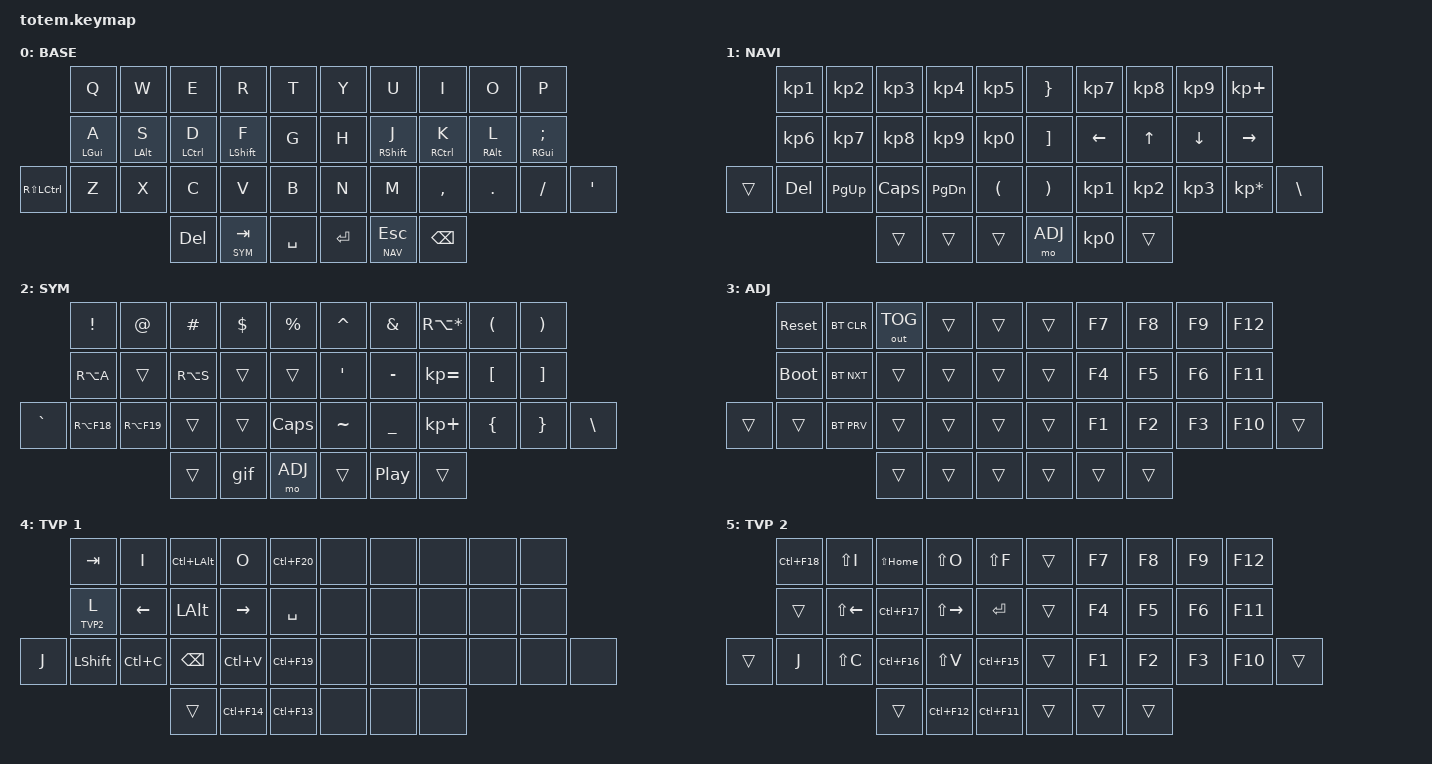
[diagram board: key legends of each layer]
//
//                                                        ▀▀▀▀▀     ▀▀▀▀▀          ▀▀█▀▀
//                                                        ▄▀▀▀▄  ▄  ▄▀▀▀▄  ▄  ▄▀▀▀▄  █  ▄▀▀▀▄
//                                                        █   █  █  █   █  █  █   █  █  █   █
//                                                         ▀▀▀   █   ▀▀▀   █   ▀▀▀   ▀   ▀▀▀
//                                                               █      ▄▄▄█▄▄▄    █   █  
//                                                               ▀      █  █  █     █▄█
//                                                             ▀▀▀▀▀    █  █  █      ▀
//                                                                      ▀  ▀  ▀
//
// ▄▄▄▄▄▄▄▄▄▄▄▄▄▄▄▄▄▄▄▄▄▄▄▄▄▄▄▄▄▄▄▄▄▄▄▄▄▄▄▄▄▄▄▄▄▄▄▄▄▄▄▄▄▄▄▄▄▄▄▄▄▄▄▄▄▄▄▄▄▄▄▄▄▄▄▄▄▄▄▄▄▄▄▄▄▄▄▄▄▄▄▄▄▄▄▄▄▄▄▄▄▄▄▄▄▄▄▄▄▄▄▄▄▄▄▄▄▄▄▄▄▄▄▄▄▄▄▄▄▄▄▄▄▄▄▄▄▄▄▄▄▄▄▄▄▄▄▄▄

#include <behaviors.dtsi>
#include <dt-bindings/zmk/bt.h>
#include <dt-bindings/zmk/keys.h>
#include <dt-bindings/zmk/outputs.h>

#define BASE 0
#define NAV  1
#define SYM  2
#define ADJ  3
#define TVP1 4
#define TVP2 5

&mt {
    quick-tap-ms = <100>;
    global-quick-tap;
    flavor = "tap-preferred";
    tapping-term-ms = <170>;
};

/ {
    combos {
        compatible = "zmk,combos";

        combo_esc {
            timeout-ms = <50>;
            key-positions = <0 1>;
            bindings = <&kp ESC>;
        };

        combo_tvp {
            timeout-ms = <100>;
            key-positions = <11 12 13>;
            bindings = <&tog TVP1>;
        };

        screenshot {
            bindings = <&none>;
            key-positions = <35>;
        };
    };

    macros {
        gif: gif {
            label = "giphy";
            compatible = "zmk,behavior-macro";
            #binding-cells = <0>;
            bindings =
                <&macro_press>,
                <&kp LSHFT>,
                <&macro_tap>,
                <&kp N2>,
                <&macro_release>,
                <&kp LSHFT>,
                <&macro_tap>,
                <&kp G &kp I &kp F>;
        };
        screenshot: screenshot {
            compatible = "zmk,behavior-macro";
            #binding-cells = <0>;
            bindings = <&kp LEFT_SHIFT &kp LGUI &kp NUMBER_4>;
            label = "SCREENSHOT";
        };
    };

    keymap {
        compatible = "zmk,keymap";

        // ▄▄▄▄▄▄▄▄▄▄▄▄▄▄▄▄▄▄▄▄▄▄▄▄▄▄▄▄▄▄▄▄▄▄▄▄▄▄▄▄▄▄▄▄▄▄▄▄▄▄▄▄▄▄▄▄▄▄▄▄▄▄▄▄▄▄▄▄▄▄▄▄▄▄▄▄▄▄▄▄▄▄▄▄▄▄▄▄▄▄▄▄▄▄▄▄▄▄▄▄▄▄▄▄▄▄▄▄▄▄▄▄▄▄▄▄▄▄▄▄▄▄▄▄▄▄▄▄▄▄▄▄▄▄▄▄▄▄▄▄▄▄▄▄▄▄▄▄▄

        base_layer {
            // ┏━━━━━━━━━━━━━━━━━━━━━━━━━━━━━━━━━━━━━━━┓

            label = "BASE";

            // ┗━━━━━━━━━━━━━━━━━━━━━━━━━━━━━━━━━━━━━━━┛
            //             ┏━━━━━━━━━━━┳━━━━━━━━━━━┳━━━━━━━━━━━┳━━━━━━━━━━━┳━━━━━━━━━━━┓   ┏━━━━━━━━━━━┳━━━━━━━━━━━┳━━━━━━━━━━━┳━━━━━━━━━━━┳━━━━━━━━━━━┓
            //             ┃     Q     ┃     W     ┃     E     ┃     R     ┃     T     ┃   ┃     Y     ┃     U     ┃     I     ┃     O     ┃     P     ┃
            //             ┣━━━━━━━━━━━╋━━━━━━━━━━━╋━━━━━━━━━━━╋━━━━━━━━━━━╋━━━━━━━━━━━┫   ┣━━━━━━━━━━━╋━━━━━━━━━━━╋━━━━━━━━━━━╋━━━━━━━━━━━╋━━━━━━━━━━━┫
            //             ┃     A     ┃     S     ┃     D     ┃     F     ┃     G     ┃   ┃     H     ┃     J     ┃     K     ┃     L     ┃     ;     ┃
            // ┏━━━━━━━━━━━╋━━━━━━━━━━━╋━━━━━━━━━━━╋━━━━━━━━━━━╋━━━━━━━━━━━╋━━━━━━━━━━━┫   ┣━━━━━━━━━━━╋━━━━━━━━━━━╋━━━━━━━━━━━╋━━━━━━━━━━━╋━━━━━━━━━━━╋━━━━━━━━━━━┓
            // ┃     Q     ┃     Z     ┃     X     ┃     C     ┃     V     ┃     B     ┃   ┃     N     ┃     M     ┃     ,     ┃     .     ┃     /     ┃     \     ┃
            // ┗━━━━━━━━━━━┻━━━━━━━━━━━┻━━━━━━━━━━━╋━━━━━━━━━━━╋━━━━━━━━━━━╋━━━━━━━━━━━┫   ┣━━━━━━━━━━━╋━━━━━━━━━━━╋━━━━━━━━━━━╋━━━━━━━━━━━┻━━━━━━━━━━━┻━━━━━━━━━━━┛
            //                                     ┃    DEL    ┃    TAB    ┃    SPC    ┃   ┃   ENTER   ┃           ┃   BSPC    ┃
            //                                     ┗━━━━━━━━━━━┻━━━━━━━━━━━┻━━━━━━━━━━━┛   ┗━━━━━━━━━━━┻━━━━━━━━━━━┻━━━━━━━━━━━┛

            bindings = <
           &kp Q       &kp W       &kp E        &kp R        &kp T        &kp Y      &kp U        &kp I        &kp O       &kp P
           &mt LGUI A  &mt LALT S  &mt LCTRL D  &mt LSHFT F  &kp G        &kp H      &mt RSHFT J  &mt RCTRL K  &mt RALT L  &mt RGUI SEMICOLON
&kp RS(LCTRL)  &kp Z       &kp X       &kp C        &kp V        &kp B        &kp N      &kp M        &kp COMMA    &kp DOT     &kp FSLH            &kp SINGLE_QUOTE
                                   &kp DEL      &lt SYM TAB    &kp SPACE    &kp RET  &lt NAV ESC    &kp BSPC
            >;
        };

        // ▄▄▄▄▄▄▄▄▄▄▄▄▄▄▄▄▄▄▄▄▄▄▄▄▄▄▄▄▄▄▄▄▄▄▄▄▄▄▄▄▄▄▄▄▄▄▄▄▄▄▄▄▄▄▄▄▄▄▄▄▄▄▄▄▄▄▄▄▄▄▄▄▄▄▄▄▄▄▄▄▄▄▄▄▄▄▄▄▄▄▄▄▄▄▄▄▄▄▄▄▄▄▄▄▄▄▄▄▄▄▄▄▄▄▄▄▄▄▄▄▄▄▄▄▄▄▄▄▄▄▄▄▄▄▄▄▄▄▄▄▄▄▄▄▄▄▄▄▄
        //               nav_layer {
        // ┏━━━━━━━━━━━━━━━━━━━━━━━━━━━━━━━━━━━━━━━┓
        //label= "NAVI"                              ;
        // ┗━━━━━━━━━━━━━━━━━━━━━━━━━━━━━━━━━━━━━━━┛
        //             ┏━━━━━━━━━━━┳━━━━━━━━━━━┳━━━━━━━━━━━┳━━━━━━━━━━━┳━━━━━━━━━━━┓   ┏━━━━━━━━━━━┳━━━━━━━━━━━┳━━━━━━━━━━━┳━━━━━━━━━━━┳━━━━━━━━━━━┓
        //             ┃           ┃           ┃     UP    ┃           ┃     {     ┃   ┃     }     ┃     7     ┃     8     ┃     9     ┃     +     ┃
        //             ┣━━━━━━━━━━━╋━━━━━━━━━━━╋━━━━━━━━━━━╋━━━━━━━━━━━╋━━━━━━━━━━━┫   ┣━━━━━━━━━━━╋━━━━━━━━━━━╋━━━━━━━━━━━╋━━━━━━━━━━━╋━━━━━━━━━━━┫
        //             ┃   SHIFT   ┃   LEFT    ┃    DOWN   ┃   RIGHT   ┃     [     ┃   ┃     ]     ┃     4     ┃     5     ┃     6     ┃     -     ┃
        // ┏━━━━━━━━━━━╋━━━━━━━━━━━╋━━━━━━━━━━━╋━━━━━━━━━━━╋━━━━━━━━━━━╋━━━━━━━━━━━┫   ┣━━━━━━━━━━━╋━━━━━━━━━━━╋━━━━━━━━━━━╋━━━━━━━━━━━╋━━━━━━━━━━━╋━━━━━━━━━━━┓
        // ┃           ┃           ┃   P UP    ┃  C LOCK   ┃  P DOWN   ┃     (     ┃   ┃     )     ┃     1     ┃     2     ┃     3     ┃     *     ┃           ┃
        // ┗━━━━━━━━━━━┻━━━━━━━━━━━┻━━━━━━━━━━━╋━━━━━━━━━━━╋━━━━━━━━━━━╋━━━━━━━━━━━┫   ┣━━━━━━━━━━━╋━━━━━━━━━━━╋━━━━━━━━━━━╋━━━━━━━━━━━┻━━━━━━━━━━━┻━━━━━━━━━━━┛
        //                                     ┃           ┃    TAB    ┃    SPC    ┃   ┃    DEL    ┃     0     ┃           ┃
        //                                     ┗━━━━━━━━━━━┻━━━━━━━━━━━┻━━━━━━━━━━━┛   ┗━━━━━━━━━━━┻━━━━━━━━━━━┻━━━━━━━━━━━┛
        // bindings = <
        // ╷           ╷           ╷           ╷           ╷           ╷           ╷   ╷           ╷           ╷           ╷           ╷           ╷           ╷
        //
        //                &kp ESC     &bt BT_CLR  &kp UP      &kp EQUAL   &kp LBRC        &kp RBRC    &kp KP_N7   &kp KP_N8   &kp KP_N9   &kp KP_PLUS
        //                &kp LSHFT   &kp LEFT    &kp DOWN    &kp RIGHT   &kp LBKT        &kp RBKT    &kp KP_N4   &kp KP_N5   &kp KP_N6   &kp KP_MINUS
        //    &trans      &kp DEL     &kp PG_UP   &kp CAPS    &kp PG_DN   &kp LPAR        &kp RPAR    &kp KP_N1   &kp KP_N2   &kp KP_N3   &kp KP_MULTIPLY &trans      
        //                                        &trans      &trans      &trans          &mo ADJ     &kp KP_N0   &trans      
        //                        >;
        //                };

        nav_layer {
            // ┏━━━━━━━━━━━━━━━━━━━━━━━━━━━━━━━━━━━━━━━┓

            label = "NAVI";

            // ┗━━━━━━━━━━━━━━━━━━━━━━━━━━━━━━━━━━━━━━━┛
            //             ┏━━━━━━━━━━━┳━━━━━━━━━━━┳━━━━━━━━━━━┳━━━━━━━━━━━┳━━━━━━━━━━━┓   ┏━━━━━━━━━━━┳━━━━━━━━━━━┳━━━━━━━━━━━┳━━━━━━━━━━━┳━━━━━━━━━━━┓
            //             ┃           ┃           ┃     UP    ┃           ┃     {     ┃   ┃     }     ┃     7     ┃     8     ┃     9     ┃     +     ┃
            //             ┣━━━━━━━━━━━╋━━━━━━━━━━━╋━━━━━━━━━━━╋━━━━━━━━━━━╋━━━━━━━━━━━┫   ┣━━━━━━━━━━━╋━━━━━━━━━━━╋━━━━━━━━━━━╋━━━━━━━━━━━╋━━━━━━━━━━━┫
            //             ┃   SHIFT   ┃   LEFT    ┃    DOWN   ┃   RIGHT   ┃     [     ┃   ┃     ]     ┃     4     ┃     5     ┃     6     ┃     -     ┃
            // ┏━━━━━━━━━━━╋━━━━━━━━━━━╋━━━━━━━━━━━╋━━━━━━━━━━━╋━━━━━━━━━━━╋━━━━━━━━━━━┫   ┣━━━━━━━━━━━╋━━━━━━━━━━━╋━━━━━━━━━━━╋━━━━━━━━━━━╋━━━━━━━━━━━╋━━━━━━━━━━━┓
            // ┃           ┃           ┃   P UP    ┃  C LOCK   ┃  P DOWN   ┃     (     ┃   ┃     )     ┃     1     ┃     2     ┃     3     ┃     *     ┃           ┃
            // ┗━━━━━━━━━━━┻━━━━━━━━━━━┻━━━━━━━━━━━╋━━━━━━━━━━━╋━━━━━━━━━━━╋━━━━━━━━━━━┫   ┣━━━━━━━━━━━╋━━━━━━━━━━━╋━━━━━━━━━━━╋━━━━━━━━━━━┻━━━━━━━━━━━┻━━━━━━━━━━━┛
            //                                     ┃           ┃    TAB    ┃    SPC    ┃   ┃    DEL    ┃     0     ┃           ┃
            //                                     ┗━━━━━━━━━━━┻━━━━━━━━━━━┻━━━━━━━━━━━┛   ┗━━━━━━━━━━━┻━━━━━━━━━━━┻━━━━━━━━━━━┛

            bindings = <
        &kp KP_N1  &kp KP_N2  &kp KP_N3  &kp KP_N4  &kp KP_N5    &kp RBRC  &kp KP_N7  &kp KP_N8  &kp KP_N9  &kp KP_PLUS
        &kp KP_N6  &kp KP_N7  &kp KP_N8  &kp KP_N9  &kp KP_N0    &kp RBKT  &kp LEFT   &kp UP     &kp DOWN   &kp RIGHT
&trans  &kp DEL    &kp PG_UP  &kp CAPS   &kp PG_DN  &kp LPAR     &kp RPAR  &kp KP_N1  &kp KP_N2  &kp KP_N3  &kp KP_MULTIPLY  &kp BACKSLASH
                              &trans     &trans     &trans       &mo ADJ   &kp KP_N0  &trans
            >;
        };

        // ▄▄▄▄▄▄▄▄▄▄▄▄▄▄▄▄▄▄▄▄▄▄▄▄▄▄▄▄▄▄▄▄▄▄▄▄▄▄▄▄▄▄▄▄▄▄▄▄▄▄▄▄▄▄▄▄▄▄▄▄▄▄▄▄▄▄▄▄▄▄▄▄▄▄▄▄▄▄▄▄▄▄▄▄▄▄▄▄▄▄▄▄▄▄▄▄▄▄▄▄▄▄▄▄▄▄▄▄▄▄▄▄▄▄▄▄▄▄▄▄▄▄▄▄▄▄▄▄▄▄▄▄▄▄▄▄▄▄▄▄▄▄▄▄▄▄▄▄▄
        //                sim_layer {
        // ┏━━━━━━━━━━━━━━━━━━━━━━━━━━━━━━━━━━━━━━━┓
        //label= "SYM"                               ;
        // ┗━━━━━━━━━━━━━━━━━━━━━━━━━━━━━━━━━━━━━━━┛
        //             ┏━━━━━━━━━━━┳━━━━━━━━━━━┳━━━━━━━━━━━┳━━━━━━━━━━━┳━━━━━━━━━━━┓   ┏━━━━━━━━━━━┳━━━━━━━━━━━┳━━━━━━━━━━━┳━━━━━━━━━━━┳━━━━━━━━━━━┓
        //             ┃     !     ┃     @     ┃     #     ┃     $     ┃     %     ┃   ┃     ˆ     ┃     &     ┃     Ü     ┃     '     ┃     "     ┃
        //             ┣━━━━━━━━━━━╋━━━━━━━━━━━╋━━━━━━━━━━━╋━━━━━━━━━━━╋━━━━━━━━━━━┫   ┣━━━━━━━━━━━╋━━━━━━━━━━━╋━━━━━━━━━━━╋━━━━━━━━━━━╋━━━━━━━━━━━┫
        //             ┃     Ä     ┃           ┃    SZ     ┃           ┃           ┃   ┃   MUTE    ┃   YEN     ┃   EURO    ┃  POUND    ┃     Ö     ┃
        // ┏━━━━━━━━━━━╋━━━━━━━━━━━╋━━━━━━━━━━━╋━━━━━━━━━━━╋━━━━━━━━━━━╋━━━━━━━━━━━┫   ┣━━━━━━━━━━━╋━━━━━━━━━━━╋━━━━━━━━━━━╋━━━━━━━━━━━╋━━━━━━━━━━━╋━━━━━━━━━━━┓
        // ┃           ┃  EMAIL1   ┃  EMAIL2   ┃           ┃           ┃           ┃   ┃   VOL-    ┃   VOL+    ┃   LAST    ┃   NEXT    ┃     \     ┃           ┃
        // ┗━━━━━━━━━━━┻━━━━━━━━━━━┻━━━━━━━━━━━╋━━━━━━━━━━━╋━━━━━━━━━━━╋━━━━━━━━━━━┫   ┣━━━━━━━━━━━╋━━━━━━━━━━━╋━━━━━━━━━━━╋━━━━━━━━━━━┻━━━━━━━━━━━┻━━━━━━━━━━━┛
        //                                     ┃           ┃    GIF    ┃    ADJ    ┃   ┃           ┃           ┃           ┃
        //                                     ┗━━━━━━━━━━━┻━━━━━━━━━━━┻━━━━━━━━━━━┛   ┗━━━━━━━━━━━┻━━━━━━━━━━━┻━━━━━━━━━━━┛
        // bindings = <
        // ╷           ╷           ╷           ╷           ╷           ╷           ╷   ╷           ╷           ╷           ╷           ╷           ╷           ╷
        //
        //                &kp EXCL    &kp AT      &kp HASH    &kp DLLR    &kp PRCNT       &kp CARET   &kp AMPS    &kp RA(U)   &kp LPAR     &kp RPAR       
        //                &kp RA(A)   &trans      &kp RA(S)   &trans      &trans          &kp C_MUTE  &kp LS(RA(N4)) &kp RA(N5) &kp LBKT   &kp RBKT 
        //    &trans      &kp RA(F18) &kp RA(F19) &trans      &trans      &trans          &kp C_VOL_DN &kp C_VOL_UP &kp C_PREV &kp LBRC  &kp RBRC   &trans         
        //                                        &trans      &gif        &mo ADJ         &trans      &kp C_PP    &trans      
        //                        >;
        //                };

        sim_layer {
            // ┏━━━━━━━━━━━━━━━━━━━━━━━━━━━━━━━━━━━━━━━┓

            label = "SYM";

            // ┗━━━━━━━━━━━━━━━━━━━━━━━━━━━━━━━━━━━━━━━┛
            //             ┏━━━━━━━━━━━┳━━━━━━━━━━━┳━━━━━━━━━━━┳━━━━━━━━━━━┳━━━━━━━━━━━┓   ┏━━━━━━━━━━━┳━━━━━━━━━━━┳━━━━━━━━━━━┳━━━━━━━━━━━┳━━━━━━━━━━━┓
            //             ┃     !     ┃     @     ┃     #     ┃     $     ┃     %     ┃   ┃     ˆ     ┃     &     ┃     Ü     ┃     '     ┃     "     ┃
            //             ┣━━━━━━━━━━━╋━━━━━━━━━━━╋━━━━━━━━━━━╋━━━━━━━━━━━╋━━━━━━━━━━━┫   ┣━━━━━━━━━━━╋━━━━━━━━━━━╋━━━━━━━━━━━╋━━━━━━━━━━━╋━━━━━━━━━━━┫
            //             ┃     Ä     ┃           ┃    SZ     ┃           ┃           ┃   ┃   MUTE    ┃   YEN     ┃   EURO    ┃  POUND    ┃     Ö     ┃
            // ┏━━━━━━━━━━━╋━━━━━━━━━━━╋━━━━━━━━━━━╋━━━━━━━━━━━╋━━━━━━━━━━━╋━━━━━━━━━━━┫   ┣━━━━━━━━━━━╋━━━━━━━━━━━╋━━━━━━━━━━━╋━━━━━━━━━━━╋━━━━━━━━━━━╋━━━━━━━━━━━┓
            // ┃           ┃  EMAIL1   ┃  EMAIL2   ┃           ┃           ┃           ┃   ┃   VOL-    ┃   VOL+    ┃   LAST    ┃   NEXT    ┃     \     ┃           ┃
            // ┗━━━━━━━━━━━┻━━━━━━━━━━━┻━━━━━━━━━━━╋━━━━━━━━━━━╋━━━━━━━━━━━╋━━━━━━━━━━━┫   ┣━━━━━━━━━━━╋━━━━━━━━━━━╋━━━━━━━━━━━╋━━━━━━━━━━━┻━━━━━━━━━━━┻━━━━━━━━━━━┛
            //                                     ┃           ┃    GIF    ┃    ADJ    ┃   ┃           ┃           ┃           ┃
            //                                     ┗━━━━━━━━━━━┻━━━━━━━━━━━┻━━━━━━━━━━━┛   ┗━━━━━━━━━━━┻━━━━━━━━━━━┻━━━━━━━━━━━┛

            bindings = <
           &kp EXCL     &kp AT       &kp HASH   &kp DLLR  &kp PRCNT    &kp CARET         &kp AMPS        &kp RA(ASTERISK)  &kp LEFT_PARENTHESIS  &kp RIGHT_PARENTHESIS
           &kp RA(A)    &trans       &kp RA(S)  &trans    &trans       &kp SINGLE_QUOTE  &kp MINUS       &kp KP_EQUAL      &kp LEFT_BRACKET      &kp RIGHT_BRACKET
&kp GRAVE  &kp RA(F18)  &kp RA(F19)  &trans     &trans    &kp CAPS     &kp TILDE         &kp UNDERSCORE  &kp KP_PLUS       &kp LEFT_BRACE        &kp RIGHT_BRACE        &kp BACKSLASH
                                     &trans     &gif      &mo ADJ      &trans            &kp C_PP        &trans
            >;
        };

        // ▄▄▄▄▄▄▄▄▄▄▄▄▄▄▄▄▄▄▄▄▄▄▄▄▄▄▄▄▄▄▄▄▄▄▄▄▄▄▄▄▄▄▄▄▄▄▄▄▄▄▄▄▄▄▄▄▄▄▄▄▄▄▄▄▄▄▄▄▄▄▄▄▄▄▄▄▄▄▄▄▄▄▄▄▄▄▄▄▄▄▄▄▄▄▄▄▄▄▄▄▄▄▄▄▄▄▄▄▄▄▄▄▄▄▄▄▄▄▄▄▄▄▄▄▄▄▄▄▄▄▄▄▄▄▄▄▄▄▄▄▄▄▄▄▄▄▄▄▄

        adjust_layer {
            // ┏━━━━━━━━━━━━━━━━━━━━━━━━━━━━━━━━━━━━━━━┓

            label = "ADJ";

            // ┗━━━━━━━━━━━━━━━━━━━━━━━━━━━━━━━━━━━━━━━┛
            //             ┏━━━━━━━━━━━┳━━━━━━━━━━━┳━━━━━━━━━━━┳━━━━━━━━━━━┳━━━━━━━━━━━┓   ┏━━━━━━━━━━━┳━━━━━━━━━━━┳━━━━━━━━━━━┳━━━━━━━━━━━┳━━━━━━━━━━━┓
            //             ┃   RESET   ┃ BT CLEAR  ┃  OUT TOG  ┃           ┃           ┃   ┃           ┃    F7     ┃    F8     ┃    F9     ┃    F12    ┃
            //             ┣━━━━━━━━━━━╋━━━━━━━━━━━╋━━━━━━━━━━━╋━━━━━━━━━━━╋━━━━━━━━━━━┫   ┣━━━━━━━━━━━╋━━━━━━━━━━━╋━━━━━━━━━━━╋━━━━━━━━━━━╋━━━━━━━━━━━┫
            //             ┃ BOOTLOAD  ┃ BT NEXT   ┃           ┃           ┃           ┃   ┃           ┃    F4     ┃    F5     ┃    F6     ┃    F11    ┃
            // ┏━━━━━━━━━━━╋━━━━━━━━━━━╋━━━━━━━━━━━╋━━━━━━━━━━━╋━━━━━━━━━━━╋━━━━━━━━━━━┫   ┣━━━━━━━━━━━╋━━━━━━━━━━━╋━━━━━━━━━━━╋━━━━━━━━━━━╋━━━━━━━━━━━╋━━━━━━━━━━━┓
            // ┃           ┃           ┃ BT PREV   ┃           ┃           ┃           ┃   ┃           ┃    F1     ┃    F2     ┃    F3     ┃    F10    ┃           ┃
            // ┗━━━━━━━━━━━┻━━━━━━━━━━━┻━━━━━━━━━━━╋━━━━━━━━━━━╋━━━━━━━━━━━╋━━━━━━━━━━━┫   ┣━━━━━━━━━━━╋━━━━━━━━━━━╋━━━━━━━━━━━╋━━━━━━━━━━━┻━━━━━━━━━━━┻━━━━━━━━━━━┛
            //                                     ┃           ┃           ┃           ┃   ┃           ┃           ┃           ┃
            //                                     ┗━━━━━━━━━━━┻━━━━━━━━━━━┻━━━━━━━━━━━┛   ┗━━━━━━━━━━━┻━━━━━━━━━━━┻━━━━━━━━━━━┛

            bindings = <
        &sys_reset   &bt BT_CLR  &out OUT_TOG  &trans  &trans    &trans  &kp F7  &kp F8  &kp F9  &kp F12
        &bootloader  &bt BT_NXT  &trans        &trans  &trans    &trans  &kp F4  &kp F5  &kp F6  &kp F11
&trans  &trans       &bt BT_PRV  &trans        &trans  &trans    &trans  &kp F1  &kp F2  &kp F3  &kp F10  &trans
                                 &trans        &trans  &trans    &trans  &trans  &trans
            >;
        };

        // ▄▄▄▄▄▄▄▄▄▄▄▄▄▄▄▄▄▄▄▄▄▄▄▄▄▄▄▄▄▄▄▄▄▄▄▄▄▄▄▄▄▄▄▄▄▄▄▄▄▄▄▄▄▄▄▄▄▄▄▄▄▄▄▄▄▄▄▄▄▄▄▄▄▄▄▄▄▄▄▄▄▄▄▄▄▄▄▄▄▄▄▄▄▄▄▄▄▄▄▄▄▄▄▄▄▄▄▄▄▄▄▄▄▄▄▄▄▄▄▄▄▄▄▄▄▄▄▄▄▄▄▄▄▄▄▄▄▄▄▄▄▄▄▄▄▄▄▄▄

        tvp1_layer {
            // ┏━━━━━━━━━━━━━━━━━━━━━━━━━━━━━━━━━━━━━━━┓

            label = "TVP 1";

            // ┗━━━━━━━━━━━━━━━━━━━━━━━━━━━━━━━━━━━━━━━┛
            //             ┏━━━━━━━━━━━┳━━━━━━━━━━━┳━━━━━━━━━━━┳━━━━━━━━━━━┳━━━━━━━━━━━┓   ┏━━━━━━━━━━━┳━━━━━━━━━━━┳━━━━━━━━━━━┳━━━━━━━━━━━┳━━━━━━━━━━━┓
            //             ┃ NEXT FILE ┃ MARK IN   ┃ ROTATE    ┃ MARK OUT  ┃ SHOW SNAP ┃   ┃           ┃           ┃           ┃           ┃           ┃
            //             ┣━━━━━━━━━━━╋━━━━━━━━━━━╋━━━━━━━━━━━╋━━━━━━━━━━━╋━━━━━━━━━━━┫   ┣━━━━━━━━━━━╋━━━━━━━━━━━╋━━━━━━━━━━━╋━━━━━━━━━━━╋━━━━━━━━━━━┫
            //             ┃ TVP II    ┃ LEFT      ┃ PAN       ┃ RIGHT     ┃ PLAY/FLIP ┃   ┃           ┃           ┃           ┃           ┃           ┃
            // ┏━━━━━━━━━━━╋━━━━━━━━━━━╋━━━━━━━━━━━╋━━━━━━━━━━━╋━━━━━━━━━━━╋━━━━━━━━━━━┫   ┣━━━━━━━━━━━╋━━━━━━━━━━━╋━━━━━━━━━━━╋━━━━━━━━━━━╋━━━━━━━━━━━╋━━━━━━━━━━━┓
            // ┃ FULLSCR   ┃ SHIFT     ┃ COPY      ┃ DELETE    ┃ PASTE     ┃ IMG MARK  ┃   ┃           ┃           ┃           ┃           ┃           ┃           ┃
            // ┗━━━━━━━━━━━┻━━━━━━━━━━━┻━━━━━━━━━━━╋━━━━━━━━━━━╋━━━━━━━━━━━╋━━━━━━━━━━━┫   ┣━━━━━━━━━━━╋━━━━━━━━━━━╋━━━━━━━━━━━╋━━━━━━━━━━━┻━━━━━━━━━━━┻━━━━━━━━━━━┛
            //                                     ┃           ┃ UNDO/SAVE ┃  SEL/MOV  ┃   ┃           ┃           ┃           ┃
            //                                     ┗━━━━━━━━━━━┻━━━━━━━━━━━┻━━━━━━━━━━━┛   ┗━━━━━━━━━━━┻━━━━━━━━━━━┻━━━━━━━━━━━┛

            bindings = <
       &kp TAB     &kp I      &kp LC(LALT)  &kp O        &kp LC(F20)    &none  &none  &none  &none  &none
       &lt TVP2 L  &kp LEFT   &kp LALT      &kp RIGHT    &kp SPACE      &none  &none  &none  &none  &none
&kp J  &kp LSHFT   &kp LC(C)  &kp BSPC      &kp LC(V)    &kp LC(F19)    &none  &none  &none  &none  &none  &none
                              &trans        &kp LC(F14)  &kp LC(F13)    &none  &none  &none
            >;
        };

        // ▄▄▄▄▄▄▄▄▄▄▄▄▄▄▄▄▄▄▄▄▄▄▄▄▄▄▄▄▄▄▄▄▄▄▄▄▄▄▄▄▄▄▄▄▄▄▄▄▄▄▄▄▄▄▄▄▄▄▄▄▄▄▄▄▄▄▄▄▄▄▄▄▄▄▄▄▄▄▄▄▄▄▄▄▄▄▄▄▄▄▄▄▄▄▄▄▄▄▄▄▄▄▄▄▄▄▄▄▄▄▄▄▄▄▄▄▄▄▄▄▄▄▄▄▄▄▄▄▄▄▄▄▄▄▄▄▄▄▄▄▄▄▄▄▄▄▄▄▄

        tvp2_layer {
            // ┏━━━━━━━━━━━━━━━━━━━━━━━━━━━━━━━━━━━━━━━┓

            label = "TVP 2";

            // ┗━━━━━━━━━━━━━━━━━━━━━━━━━━━━━━━━━━━━━━━┛
            //             ┏━━━━━━━━━━━┳━━━━━━━━━━━┳━━━━━━━━━━━┳━━━━━━━━━━━┳━━━━━━━━━━━┓   ┏━━━━━━━━━━━┳━━━━━━━━━━━┳━━━━━━━━━━━┳━━━━━━━━━━━┳━━━━━━━━━━━┓
            //             ┃ SOLO      ┃ TOGGLE IN ┃ RESET ROT ┃ TOGGLE OUT┃ TAKE SNAP ┃   ┃           ┃           ┃           ┃           ┃           ┃
            //             ┣━━━━━━━━━━━╋━━━━━━━━━━━╋━━━━━━━━━━━╋━━━━━━━━━━━╋━━━━━━━━━━━┫   ┣━━━━━━━━━━━╋━━━━━━━━━━━╋━━━━━━━━━━━╋━━━━━━━━━━━╋━━━━━━━━━━━┫
            //             ┃ ---       ┃ LAST KEY  ┃ NEW KEY   ┃ NEXT KEY  ┃ ENTER     ┃   ┃           ┃           ┃           ┃           ┃           ┃
            // ┏━━━━━━━━━━━╋━━━━━━━━━━━╋━━━━━━━━━━━╋━━━━━━━━━━━╋━━━━━━━━━━━╋━━━━━━━━━━━┫   ┣━━━━━━━━━━━╋━━━━━━━━━━━╋━━━━━━━━━━━╋━━━━━━━━━━━╋━━━━━━━━━━━╋━━━━━━━━━━━┓
            // ┃           ┃ FULLSCR   ┃ CPY2BRUSH ┃ DEL HEAD  ┃ PSTinPLACE┃ BOOK MARK ┃   ┃           ┃           ┃           ┃           ┃           ┃           ┃
            // ┗━━━━━━━━━━━┻━━━━━━━━━━━┻━━━━━━━━━━━╋━━━━━━━━━━━╋━━━━━━━━━━━╋━━━━━━━━━━━┫   ┣━━━━━━━━━━━╋━━━━━━━━━━━╋━━━━━━━━━━━╋━━━━━━━━━━━┻━━━━━━━━━━━┻━━━━━━━━━━━┛
            //                                     ┃           ┃ REDO/SAV1 ┃TRANS/WARP ┃   ┃           ┃           ┃           ┃
            //                                     ┗━━━━━━━━━━━┻━━━━━━━━━━━┻━━━━━━━━━━━┛   ┗━━━━━━━━━━━┻━━━━━━━━━━━┻━━━━━━━━━━━┛

            bindings = <
        &kp LC(F18)  &kp LS(I)     &kp LS(HOME)  &kp LS(O)      &kp LS(F)      &trans  &kp F7  &kp F8  &kp F9  &kp F12
        &trans       &kp LS(LEFT)  &kp LC(F17)   &kp LS(RIGHT)  &kp RET        &trans  &kp F4  &kp F5  &kp F6  &kp F11
&trans  &kp J        &kp LS(C)     &kp LC(F16)   &kp LS(V)      &kp LC(F15)    &trans  &kp F1  &kp F2  &kp F3  &kp F10  &trans
                                   &trans        &kp LC(F12)    &kp LC(F11)    &trans  &trans  &trans
            >;
        };
    };
};
